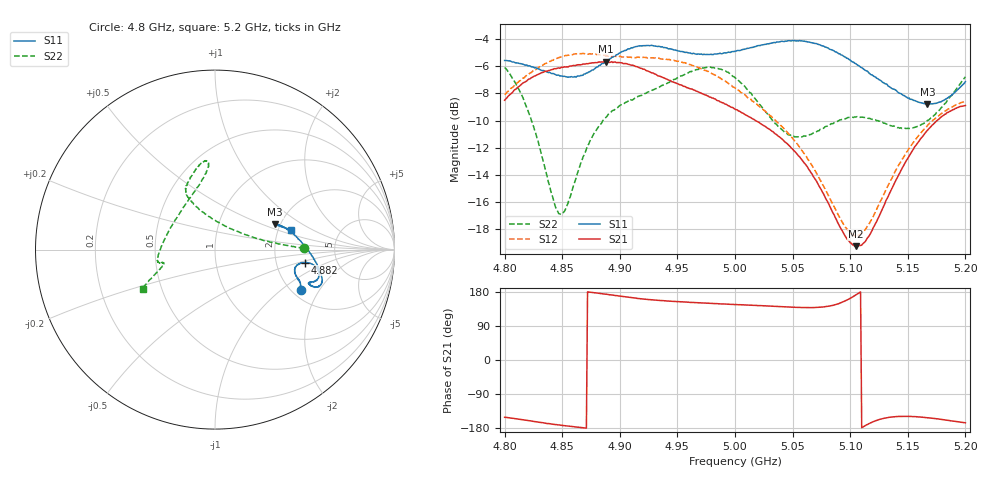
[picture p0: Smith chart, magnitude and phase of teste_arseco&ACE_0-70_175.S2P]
! Network Analyzer HP8722D
! Hewlett-Packard
! Data name: Linha & Wilkinson
! Saver's name: Rodrigo Anjos
! Comments: Teste da utilização de aquisição
! continua pelo VNA HP8722D
! Time and date: 8/5/2025 14:13
!  Frequency  S11  S21  S12  S22
# HZ  S  MA R 50
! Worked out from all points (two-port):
!   401 points, 4.8 GHz to 5.2 GHz, reference 50 ohm
!   highest |S21| = -5.65 dB at 4.888 GHz (marker M1); lowest = -19.3 dB at 5.105 GHz (marker M2)
!   |S21| within 3 dB of the highest: start of sweep to 4.988 GHz
!   lowest |S11| = -8.8 dB at 5.167 GHz (marker M3), VSWR 2.14, Z = 93.9 + j30.6 ohm
!   |S11| at or under -10 dB: nowhere
!   |S22| runs from -16.9 to -6.0 dB; largest |S21 - S12| = 1.1
!   S11 on the Smith chart (normalised r, x): 4.8 GHz: 2.23, -1.38; 4.882 GHz: 2.92, -0.57; 5.2 GHz: 2.36, +0.65
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4.8e9  0.5268 -25.2  0.3759 -151.2  0.3946 8.1  0.4966 0.7
4.82e9  0.5042 -20.6  0.4464 -159.6  0.4677 5.4  0.3464 5.7
4.847e9  0.4651 -16.2  0.4947 -171.2  0.5395 1.0  0.1436 55.9
4.853e9  0.4588 -14.6  0.4982 -173.6  0.5497 -0.1  0.1496 79.4
4.867e9  0.4639 -10.6  0.5086 -178.6  0.558 -2.1  0.2244 109.0
4.882e9  0.5051 -8.2  0.5203 175.9  0.554 -3.2  0.3027 116.4
4.888e9  0.5228 -8.2  0.522 173.6  0.549 -3.3  0.325 116.9
4.912e9  0.5887 -11.6  0.5047 163.9  0.5403 -2.4  0.3794 115.3
4.934e9  0.594 -16.5  0.4618 157.2  0.5371 -3.4  0.4192 109.4
4.975e9  0.5545 -19.6  0.3924 150.0  0.4838 -6.9  0.4961 96.6
5e9  0.5692 -20.5  0.3484 146.4  0.4175 -6.9  0.4553 95.1
5.018e9  0.5926 -20.4  0.3157 144.1  0.3648 -4.0  0.3784 102.7
5.044e9  0.6205 -18.5  0.2627 140.1  0.29 1.5  0.2854 131.9
5.067e9  0.6115 -14.1  0.2009 138.3  0.2157 8.7  0.2831 165.1
5.094e9  0.5475 -4.3  0.1221 153.6  0.1315 33.5  0.3193 -172.9
5.105e9  0.512 0.6  0.109 171.9  0.1193 54.5  0.3259 -169.3
5.115e9  0.4807 5.6  0.117 -170.1  0.1293 73.9  0.3227 -167.3
5.134e9  0.4218 15.1  0.1702 -151.1  0.1864 94.3  0.304 -166.4
5.152e9  0.3789 21.3  0.2373 -148.9  0.2526 99.7  0.2959 -164.7
5.167e9  0.364 22.9  0.2909 -152.3  0.3032 100.4  0.3166 -161.5
5.183e9  0.3795 20.4  0.3346 -158.5  0.344 100.3  0.3675 -157.2
5.2e9  0.4398 14.6  0.3595 -165.7  0.3738 100.9  0.4586 -151.7
